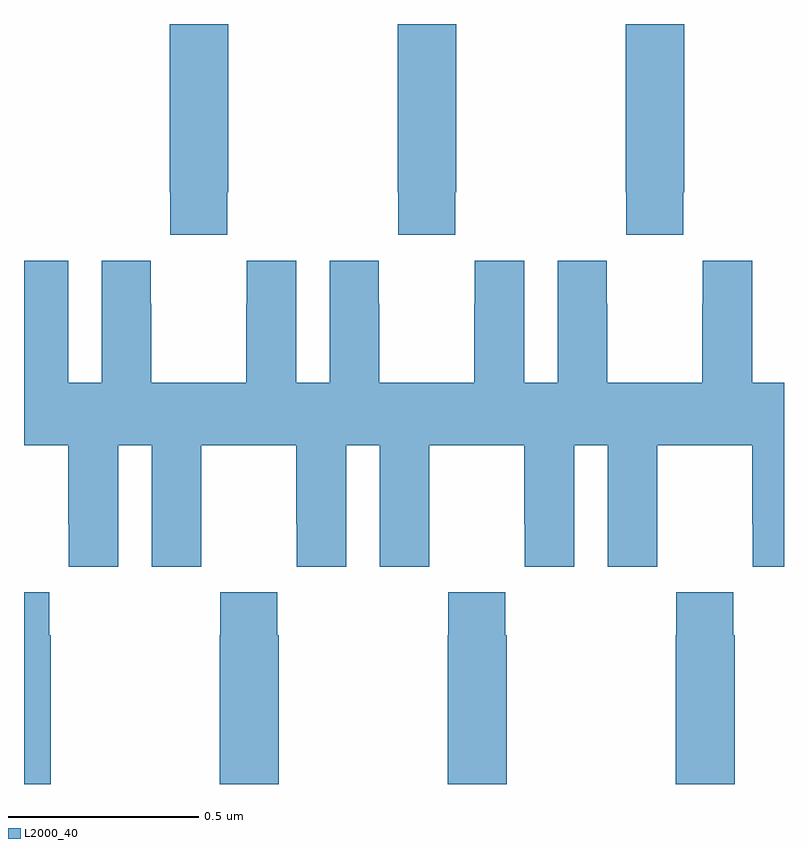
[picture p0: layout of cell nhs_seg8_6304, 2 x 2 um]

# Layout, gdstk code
import gdstk
lib = gdstk.Library(unit=1e-6, precision=1e-09)
def P(c, l, *ps):  # polygons
    for p in ps: c.add(gdstk.Polygon(p, *l))
L2000_40 = (2000, 40)

nhs_seg8_6304 = lib.new_cell('nhs_seg8_6304')
P(nhs_seg8_6304, L2000_40, [(194.535,1158.457),(194.538,1158.457),(194.538,1158.9),(194.383,1158.9),(194.383,1158.457),(194.385,1158.457),(194.385,1158.345),(194.535,1158.345)],
  [(194.983,1158.457),(194.985,1158.457),(194.985,1158.345),(195.135,1158.345),(195.135,1158.457),(195.138,1158.457),(195.138,1158.9),(194.983,1158.9)],
  [(195.735,1158.457),(195.738,1158.457),(195.738,1158.9),(195.583,1158.9),(195.583,1158.457),(195.585,1158.457),(195.585,1158.345),(195.735,1158.345)],
  [(195.536,1157.472),(195.666,1157.472),(195.666,1157.584),(195.667,1157.584),(195.667,1157.792),(195.917,1157.792),(195.917,1157.584),(195.918,1157.584),(195.918,1157.472),(196,1157.472),(196,1157.956),(195.916,1157.956),(195.916,1158.277),(195.786,1158.277),(195.786,1158.164),(195.785,1158.164),(195.785,1157.956),(195.535,1157.956),(195.535,1158.164),(195.534,1158.164),(195.534,1158.277),(195.404,1158.277),(195.404,1157.956),(195.316,1157.956),(195.316,1158.277),(195.186,1158.277),(195.186,1158.164),(195.185,1158.164),(195.185,1157.956),(194.935,1157.956),(194.935,1158.164),(194.934,1158.164),(194.934,1158.277),(194.804,1158.277),(194.804,1157.956),(194.716,1157.956),(194.716,1158.277),(194.586,1158.277),(194.586,1158.164),(194.585,1158.164),(194.585,1157.956),(194.335,1157.956),(194.335,1158.164),(194.334,1158.164),(194.334,1158.277),(194.204,1158.277),(194.204,1157.956),(194.116,1157.956),(194.116,1158.277),(194,1158.277),(194,1157.792),(194.117,1157.792),(194.117,1157.584),(194.118,1157.584),(194.118,1157.472),(194.248,1157.472),(194.248,1157.792),(194.336,1157.792),(194.336,1157.472),(194.466,1157.472),(194.466,1157.584),(194.467,1157.584),(194.467,1157.792),(194.717,1157.792),(194.717,1157.584),(194.718,1157.584),(194.718,1157.472),(194.848,1157.472),(194.848,1157.792),(194.936,1157.792),(194.936,1157.472),(195.066,1157.472),(195.066,1157.584),(195.067,1157.584),(195.067,1157.792),(195.317,1157.792),(195.317,1157.584),(195.318,1157.584),(195.318,1157.472),(195.448,1157.472),(195.448,1157.792),(195.536,1157.792)],
  [(195.87,1157.291),(195.867,1157.291),(195.867,1157.404),(195.717,1157.404),(195.717,1157.291),(195.715,1157.291),(195.715,1156.9),(195.87,1156.9)],
  [(194.07,1157.291),(194.067,1157.291),(194.067,1157.404),(194,1157.404),(194,1156.9),(194.07,1156.9)],
  [(195.27,1157.291),(195.267,1157.291),(195.267,1157.404),(195.117,1157.404),(195.117,1157.291),(195.115,1157.291),(195.115,1156.9),(195.27,1156.9)],
  [(194.67,1157.291),(194.667,1157.291),(194.667,1157.404),(194.517,1157.404),(194.517,1157.291),(194.515,1157.291),(194.515,1156.9),(194.67,1156.9)])

lib.write_gds('nhs_seg8_6304.gds')
